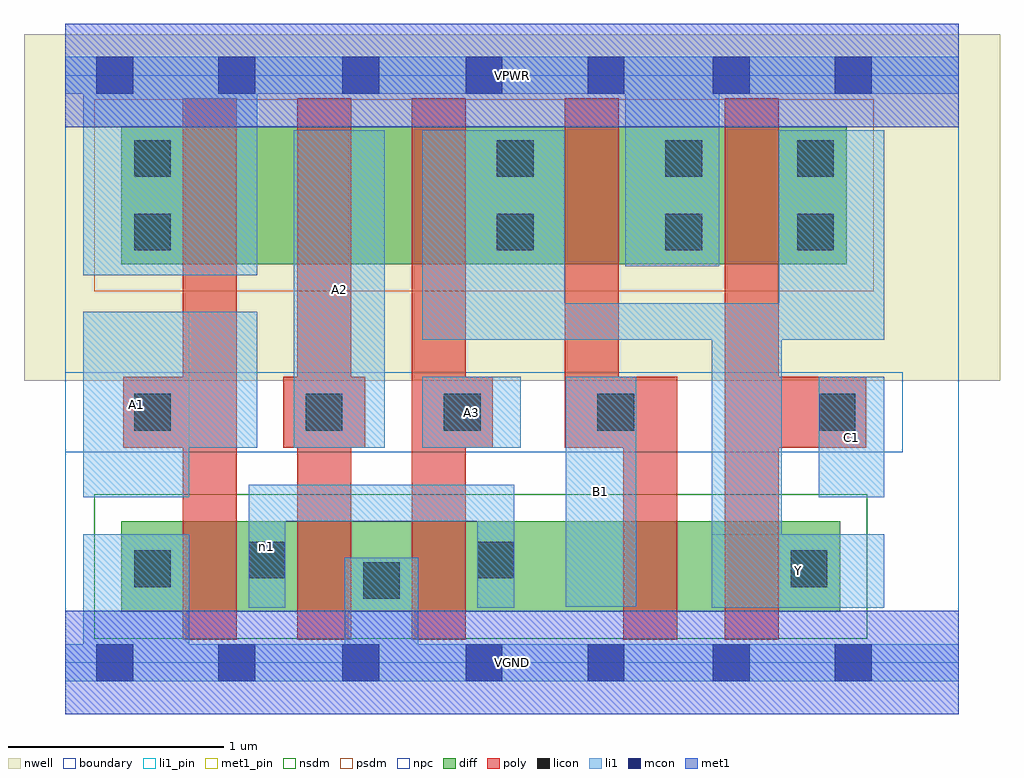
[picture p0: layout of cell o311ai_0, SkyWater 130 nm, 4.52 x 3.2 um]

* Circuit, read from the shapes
.subckt o311ai_0 A1 A2 A3 B1 C1 VGND VPWR Y n1
XM1 n1 A1 VGND VSUBS sky130_fd_pr__nfet_01v8 w=0.42 l=0.25
XM2 VGND A2 n1 VSUBS sky130_fd_pr__nfet_01v8 w=0.42 l=0.25
XM3 n1 A3 VGND VSUBS sky130_fd_pr__nfet_01v8 w=0.42 l=0.25
XM4 n2 B1 n1 VSUBS sky130_fd_pr__nfet_01v8 w=0.42 l=0.25
XM5 Y C1 n2 VSUBS sky130_fd_pr__nfet_01v8 w=0.42 l=0.25
XM6 n3 A1 VPWR n4 sky130_fd_pr__pfet_01v8 w=0.64 l=0.25
XM7 n5 A2 n3 n4 sky130_fd_pr__pfet_01v8 w=0.64 l=0.25
XM8 Y A3 n5 n4 sky130_fd_pr__pfet_01v8 w=0.64 l=0.25
XM9 VPWR B1 Y n4 sky130_fd_pr__pfet_01v8 w=0.64 l=0.25
XM10 Y C1 VPWR n4 sky130_fd_pr__pfet_01v8 w=0.64 l=0.25
.ends

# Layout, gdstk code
import gdstk
lib = gdstk.Library(unit=1e-6, precision=1e-09)
def R(c, l, rs):  # rectangles x0, y0, x1, y1
    for r in rs: c.add(gdstk.rectangle(r[:2], r[2:], *l))
def A(c, l, x, y, w, h, nx, ny, dx, dy):  # array of equal rectangles
    R(c, l, [(x+i*dx, y+j*dy, x+i*dx+w, y+j*dy+h) for i in range(nx) for j in range(ny)])
nwell = (64, 20)
diff = (65, 20)
poly = (66, 20)
licon = (66, 44)
li1_pin = (67, 16)
li1 = (67, 20)
mcon = (67, 44)
met1_pin = (68, 16)
met1 = (68, 20)
nsdm = (93, 44)
psdm = (94, 20)
npc = (95, 20)
boundary = (235, 4)

o311ai_0 = lib.new_cell('o311ai_0')
R(o311ai_0, nwell, [(-0.19,1.305,4.33,2.91), (0,1.305,4.14,2.91)])
R(o311ai_0, diff, [(0.26,0.235,3.59,0.655), (0.26,1.845,3.62,2.485)])
A(o311ai_0, poly, 0.545, 0.105, 0.25, 2.51, 3, 1, 0.53, 0)
R(o311ai_0, poly, [(2.585,0.105,2.835,1.325), (3.055,0.105,3.305,2.615), (0.27,0.995,0.795,1.325), (1.01,0.995,1.39,1.325), (1.605,0.995,1.98,1.325), (2.315,0.995,2.565,2.615), (2.315,0.995,2.835,1.325), (3.055,0.995,3.71,1.325)])
R(o311ai_0, licon, [(1.38,0.295,1.55,0.465), (0.32,0.35,0.49,0.52), (3.36,0.35,3.53,0.52), (0.85,0.39,1.02,0.56), (1.91,0.39,2.08,0.56), (0.32,1.075,0.49,1.245), (1.115,1.075,1.285,1.245), (1.755,1.075,1.925,1.245), (2.465,1.075,2.635,1.245), (3.49,1.075,3.66,1.245), (0.32,1.91,0.49,2.08), (2,1.91,2.17,2.08), (2.78,1.91,2.95,2.08), (3.39,1.91,3.56,2.08), (0.32,2.25,0.49,2.42), (2,2.25,2.17,2.42), (2.78,2.25,2.95,2.42), (3.39,2.25,3.56,2.42)])
R(o311ai_0, li1_pin, [(2.995,0.255,3.795,0.595), (2.32,0.26,2.645,1.325), (0.085,0.765,0.575,1.625), (3.49,0.765,3.795,1.325), (1.06,0.995,1.48,2.465), (1.655,0.995,2.11,1.325)])
R(o311ai_0, li1, [(0,-0.085,4.14,0.085), (0.085,-0.085,0.575,0.595), (1.295,-0.085,1.635,0.485), (0.85,0.255,1.02,0.825), (1.91,0.255,2.08,0.825), (2.995,0.255,3.32,1.665), (2.995,0.255,3.795,0.595), (2.32,0.26,2.645,1.325), (0.85,0.655,2.08,0.825), (0.085,0.765,0.575,1.625), (3.49,0.765,3.795,1.325), (0.085,0.995,0.89,1.625), (1.06,0.995,1.48,2.465), (1.655,0.995,2.11,1.325), (1.655,1.495,2.315,2.465), (1.655,1.495,3.795,1.665), (3.305,1.495,3.795,2.465), (0.085,1.795,0.89,2.805), (2.595,1.835,3.03,2.805), (0,2.635,4.14,2.805)])
R(o311ai_0, mcon, [(0.145,-0.085,0.315,0.085), (0.71,-0.085,0.88,0.085), (1.285,-0.085,1.455,0.085), (1.855,-0.085,2.025,0.085), (2.42,-0.085,2.59,0.085), (3,-0.085,3.17,0.085), (3.565,-0.085,3.735,0.085), (0.145,2.635,0.315,2.805), (0.71,2.635,0.88,2.805), (1.285,2.635,1.455,2.805), (1.855,2.635,2.025,2.805), (2.42,2.635,2.59,2.805), (3,2.635,3.17,2.805), (3.565,2.635,3.735,2.805)])
R(o311ai_0, met1_pin, [(0,-0.24,4.14,0.24), (0,2.48,4.14,2.96)])
R(o311ai_0, met1, [(0,-0.24,4.14,0.24), (0,2.48,4.14,2.96)])
R(o311ai_0, nsdm, [(0.135,0.11,3.715,0.78)])
R(o311ai_0, psdm, [(0.135,1.72,3.745,2.61)])
R(o311ai_0, npc, [(0,0.975,3.88,1.345)])
R(o311ai_0, boundary, [(0,0,4.14,2.72)])
o311ai_0.add(gdstk.Label('A1', (0.33,1.195), layer=67, texttype=5))
o311ai_0.add(gdstk.Label('A2', (1.27,1.73), layer=67, texttype=5))
o311ai_0.add(gdstk.Label('A3', (1.882,1.16), layer=67, texttype=5))
o311ai_0.add(gdstk.Label('B1', (2.482,0.792), layer=67, texttype=5))
o311ai_0.add(gdstk.Label('C1', (3.642,1.045), layer=67, texttype=5))
o311ai_0.add(gdstk.Label('Y', (3.395,0.425), layer=67, texttype=5))
o311ai_0.add(gdstk.Label('n1', (0.935,0.54), layer=67, texttype=5))
o311ai_0.add(gdstk.Label('VPWR', (2.07,2.72), layer=68, texttype=5))
o311ai_0.add(gdstk.Label('VGND', (2.07,0), layer=68, texttype=5))
o311ai_0.add(gdstk.Label('A1', (0.33,1.195), layer=67, texttype=16))
o311ai_0.add(gdstk.Label('A2', (1.27,1.73), layer=67, texttype=16))
o311ai_0.add(gdstk.Label('A3', (1.882,1.16), layer=67, texttype=16))
o311ai_0.add(gdstk.Label('B1', (2.482,0.792), layer=67, texttype=16))
o311ai_0.add(gdstk.Label('C1', (3.642,1.045), layer=67, texttype=16))
o311ai_0.add(gdstk.Label('Y', (3.395,0.425), layer=67, texttype=16))
o311ai_0.add(gdstk.Label('VPWR', (2.07,2.72), layer=68, texttype=16))
o311ai_0.add(gdstk.Label('VGND', (2.07,0), layer=68, texttype=16))

lib.write_gds('o311ai_0.gds')
